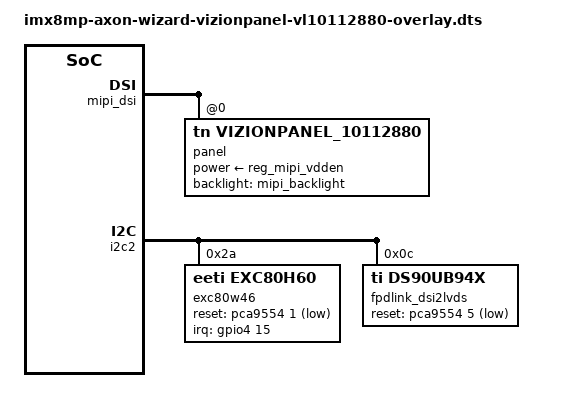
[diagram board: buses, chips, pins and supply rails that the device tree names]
// SPDX-License-Identifier: (GPL-2.0+ OR MIT)
/*
 * Copyright 2020 TechNexion Ltd.
 *
 * Author: Richard Hu <richard.hu@technexion.com>
 *
 */

/dts-v1/;
/plugin/;

#include <dt-bindings/interrupt-controller/irq.h>
#include <dt-bindings/gpio/gpio.h>

/ {
	fragment@0 {
		target-path = "/";
		__overlay__ {
			reg_mipi_pwr: regulator_mipipwr {
				regulator-always-on;
				status = "okay";
			};

			reg_mipi_vdden: regulator_mipivdden {
				regulator-always-on;
				status = "okay";
			};

			mipi_backlight: mipi_backlight {
				status = "okay";
			};

			reg_mipi_bl_en: regulator_mipiblen {
				regulator-always-on;
				status = "okay";
			};
		};
	};

	fragment@1 {
		target = <&mipi_dsi>;
		__overlay__ {
			status = "okay";
			#address-cells = <1>;
			#size-cells = <0>;

			panel@0 {
				compatible = "tn,vizionpanel_10112880";
				backlight = <&mipi_backlight>;
				power-supply = <&reg_mipi_vdden>;
				reg = <0>;
				status = "okay";
			};
		};
	};

	fragment@2 {
		target = <&i2c2>;
		__overlay__ {
			#address-cells = <1>;
			#size-cells = <0>;
			status = "okay";

			exc80w46: touchscreen@2a {
				compatible = "eeti,exc80h60";
				pinctrl-names = "default";
				pinctrl-0 = <&pinctrl_ft5336_touch_irq>;
				reg = <0x2a>;
				interrupt-parent = <&gpio4>;
				interrupts = <15 IRQ_TYPE_LEVEL_LOW>;
				reset-gpios = <&pca9554 1 GPIO_ACTIVE_LOW>;
				status = "okay";
			};
#if 0
			polytouch: edt-ft5x06@38 {
				compatible = "edt,edt-ft5x06";
				pinctrl-names = "default";
				pinctrl-0 = <&pinctrl_ft5336_touch_irq>;
				reg = <0x38>;
				interrupt-parent = <&gpio4>;
				interrupts = <15 IRQ_TYPE_EDGE_FALLING>;
				reset-gpios = <&pca9554 1 GPIO_ACTIVE_LOW>;
				touchscreen-size-x = <720>;
				touchscreen-size-y = <1280>;
				status="okay";
			};
#endif
			fpdlink_dsi2lvds: ds90ub948@c {
				compatible = "ti,ds90ub94x";
				reg = <0x0c>;
				status = "okay";
				reset-gpios = <&pca9554 5 GPIO_ACTIVE_LOW>;
			};
		};
	};
};
